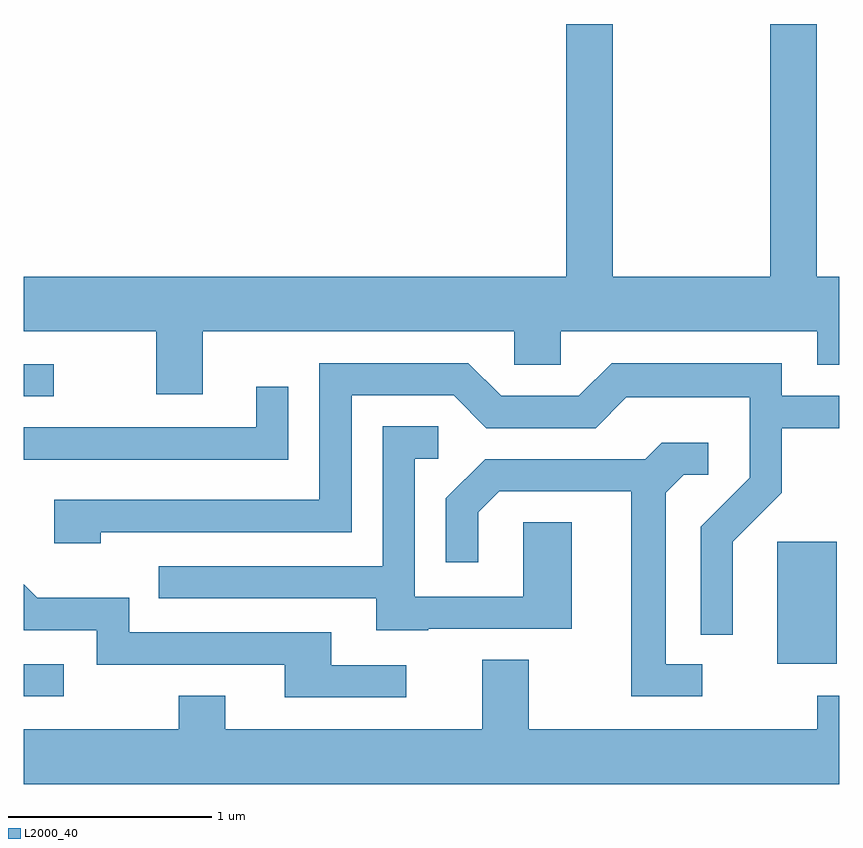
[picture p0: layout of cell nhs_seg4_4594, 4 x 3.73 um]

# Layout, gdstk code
import gdstk
lib = gdstk.Library(unit=1e-6, precision=1e-09)
def R(c, l, rs):  # rectangles x0, y0, x1, y1
    for r in rs: c.add(gdstk.rectangle(r[:2], r[2:], *l))
def P(c, l, *ps):  # polygons
    for p in ps: c.add(gdstk.Polygon(p, *l))
L2000_40 = (2000, 40)

nhs_seg4_4594 = lib.new_cell('nhs_seg4_4594')
R(nhs_seg4_4594, L2000_40, [(319.611,1330.686,319.808,1330.844), (323.306,1330.846,323.599,1331.444), (319.611,1332.156,319.758,1332.314)])
P(nhs_seg4_4594, L2000_40, [(320.489,1332.476),(322.016,1332.476),(322.016,1332.311),(322.244,1332.311),(322.244,1332.476),(323.501,1332.476),(323.501,1332.311),(323.611,1332.311),(323.611,1332.744),(323.499,1332.744),(323.499,1333.982),(323.271,1333.982),(323.271,1332.744),(322.499,1332.744),(322.499,1333.982),(322.271,1333.982),(322.271,1332.744),(319.611,1332.744),(319.611,1332.476),(320.261,1332.476),(320.261,1332.166),(320.489,1332.166)],
  [(323.089,1331.444),(323.329,1331.684),(323.329,1332.001),(323.611,1332.001),(323.611,1332.159),(323.329,1332.159),(323.329,1332.319),(322.494,1332.319),(322.334,1332.159),(321.952,1332.159),(321.792,1332.319),(321.061,1332.319),(321.061,1331.649),(319.761,1331.649),(319.761,1331.436),(319.989,1331.436),(319.989,1331.491),(321.219,1331.491),(321.219,1332.161),(321.719,1332.161),(321.879,1332.001),(322.417,1332.001),(322.567,1332.151),(323.171,1332.151),(323.171,1331.757),(322.931,1331.517),(322.931,1330.988),(323.089,1330.988)],
  [(320.909,1332.203),(320.751,1332.203),(320.751,1332.004),(319.611,1332.004),(319.611,1331.846),(320.909,1331.846)],
  [(321.595,1331.016),(322.299,1331.016),(322.299,1331.539),(322.061,1331.539),(322.061,1331.174),(321.529,1331.174),(321.529,1331.851),(321.643,1331.851),(321.643,1332.009),(321.371,1332.009),(321.371,1331.324),(320.273,1331.324),(320.273,1331.166),(321.341,1331.166),(321.341,1331.011),(321.595,1331.011)],
  [(322.938,1330.844),(322.759,1330.844),(322.759,1331.684),(322.847,1331.771),(322.968,1331.771),(322.968,1331.929),(322.739,1331.929),(322.659,1331.849),(321.874,1331.849),(321.681,1331.657),(321.681,1331.343),(321.839,1331.343),(321.839,1331.589),(321.942,1331.691),(322.591,1331.691),(322.591,1330.686),(322.938,1330.686)],
  [(321.488,1330.839),(321.119,1330.839),(321.119,1330.999),(320.129,1330.999),(320.129,1331.169),(319.677,1331.169),(319.611,1331.235),(319.611,1331.011),(319.971,1331.011),(319.971,1330.841),(320.891,1330.841),(320.891,1330.681),(321.488,1330.681)],
  [(323.611,1330.689),(323.501,1330.689),(323.501,1330.524),(322.089,1330.524),(322.089,1330.864),(321.861,1330.864),(321.861,1330.524),(320.599,1330.524),(320.599,1330.689),(320.371,1330.689),(320.371,1330.524),(319.611,1330.524),(319.611,1330.256),(323.611,1330.256)])

lib.write_gds('nhs_seg4_4594.gds')
